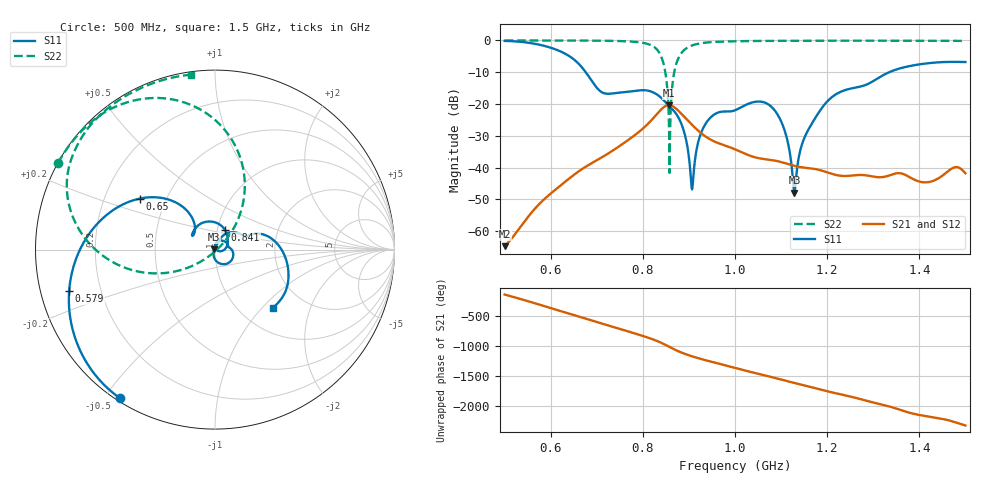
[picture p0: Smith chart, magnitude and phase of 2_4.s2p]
! TOUCHSTONE file generated by CST MICROWAVE STUDIO
! Date and time: Fri Oct  2 16:53:12 2020
! Project name: Scenario_1_Free_Space_out_of_line.cst
! Parameters = {Lambda=346.42; Step_1=17.321; dy1=330.299; dx1=693; L_HA=400; MT=2.54; Rad_Dielectric=30; Rad_Lower=7.3; Rad_Upper=30; a_HA=580; a_WG=246; b_HA=500; b_WG=121; c_HA=0; c_WG=187; d_feed=85; h_feed=15; h_lower=18; h_upper=40}
! Header version: 2018
! Port assignment regex: !\s*Touchstone port\s*([0-9]+)\s*=\s*(CST MWS port|CST DS port)\s*([0-9]+|Zmin|Zmax)\s*\(\"(.*)\"\)(\s*mode\s*([0-9]+))?.*
! Touchstone port assignment:
! Touchstone port 1 = CST MWS port 1 ("")
! Touchstone port 2 = CST MWS port 2 ("")
# GHz S DB R 50
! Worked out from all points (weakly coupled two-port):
!   1003 points, 500 MHz to 1.5 GHz, reference 50 ohm
!   highest |S21| = -20.36 dB at 857 MHz (marker M1); lowest = -64.7 dB at 500 MHz (marker M2)
!   lowest |S11| = -47.9 dB at 1.129 GHz (marker M3), VSWR 1.01, Z = 49.6 + j0.174 ohm
!   |S11| at or under -10 dB: 676.1 MHz to 1.335 GHz (658.4 MHz wide, 65.5 % of centre)
!   |S22| runs from -41.7 to 0.0 dB; largest |S21 - S12| = 4.6e-05
!   S11 on the Smith chart (normalised r, x): 500 MHz: 0.01, -0.55; 579 MHz: 0.09, -0.14; 650 MHz: 0.36, +0.27; 841 MHz: 1.09, +0.24; 1.5 GHz: 1.39, -1.15
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0.5  -0.15 -122.5  -64.73 -146.0  -64.73 -146.0  -0.01 151.2
0.579  -1.46 -164.1  -50.92 38.2  -50.92 38.2  -0.01 145.7
0.65  -5.94 145.7  -42.34 -125.1  -42.34 -125.1  -0.03 139.9
0.667  -8.33 133.1  -40.58 -165.4  -40.58 -165.4  -0.04 138.3
0.715  -16.56 139.9  -36.44 83.8  -36.44 83.8  -0.09 132.9
0.79  -15.75 129.0  -28.95 -87.9  -28.95 -87.9  -0.55 117.1
0.834  -17.35 73.5  -22.61 154.9  -22.61 154.9  -3.50 85.3
0.841  -18.21 63.0  -21.56 130.9  -21.56 130.9  -5.51 74.6
0.857  -20.56 40.9  -20.36 69.0  -20.36 69.0  -28.26 33.0
0.874  -23.47 14.0  -21.70 4.8  -21.70 4.8  -6.72 -165.2
0.891  -29.53 -15.8  -24.19 -48.2  -24.19 -48.2  -2.86 175.6
0.907  -46.86 41.3  -26.59 -90.1  -26.59 -90.1  -1.56 164.7
0.937  -26.03 68.5  -30.32 -155.6  -30.32 -155.6  -0.68 152.5
1  -21.97 8.8  -34.26 77.6  -34.26 77.6  -0.27 140.3
1.085  -21.79 -71.1  -37.77 -84.8  -37.77 -84.8  -0.13 131.1
1.11  -29.40 -103.1  -38.68 -135.0  -38.68 -135.0  -0.12 128.9
1.129  -47.90 154.2  -39.46 -171.1  -39.46 -171.1  -0.11 127.3
1.145  -32.85 72.1  -39.91 159.3  -39.91 159.3  -0.10 126.0
1.167  -26.09 66.3  -40.30 116.9  -40.30 116.9  -0.10 124.2
1.217  -17.13 44.2  -42.26 21.2  -42.26 21.2  -0.08 120.4
1.334  -10.03 12.2  -42.52 162.0  -42.53 162.1  -0.09 111.5
1.5  -6.80 -45.5  -41.79 -154.7  -41.84 -154.7  -0.14 97.9
